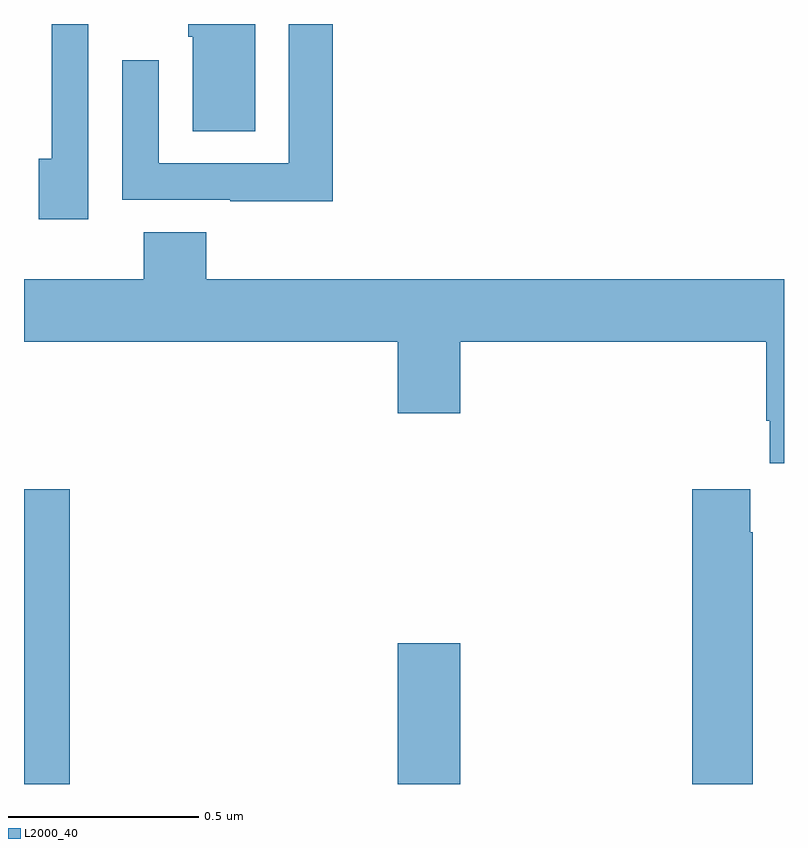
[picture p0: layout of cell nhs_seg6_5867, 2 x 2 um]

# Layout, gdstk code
import gdstk
lib = gdstk.Library(unit=1e-6, precision=1e-09)
def R(c, l, rs):  # rectangles x0, y0, x1, y1
    for r in rs: c.add(gdstk.rectangle(r[:2], r[2:], *l))
def P(c, l, *ps):  # polygons
    for p in ps: c.add(gdstk.Polygon(p, *l))
L2000_40 = (2000, 40)

nhs_seg6_5867 = lib.new_cell('nhs_seg6_5867')
R(nhs_seg6_5867, L2000_40, [(188,951.5,188.12,952.276), (188.984,951.5,189.148,951.871)])
P(nhs_seg6_5867, L2000_40, [(188.813,953.5),(188.697,953.5),(188.697,953.133),(188.355,953.133),(188.355,953.404),(188.259,953.404),(188.259,953.037),(188.543,953.037),(188.543,953.033),(188.813,953.033)],
  [(188.608,953.5),(188.432,953.5),(188.432,953.466),(188.444,953.466),(188.444,953.218),(188.608,953.218)],
  [(188.169,953.5),(188.073,953.5),(188.073,953.146),(188.039,953.146),(188.039,952.986),(188.169,952.986)],
  [(190,952.828),(188.48,952.828),(188.48,952.952),(188.315,952.952),(188.315,952.828),(188,952.828),(188,952.664),(188.984,952.664),(188.984,952.476),(189.148,952.476),(189.148,952.664),(189.953,952.664),(189.953,952.456),(189.962,952.456),(189.962,952.344),(190,952.344)],
  [(189.918,952.163),(189.911,952.163),(189.911,952.276),(189.758,952.276),(189.758,951.5),(189.918,951.5)])

lib.write_gds('nhs_seg6_5867.gds')
